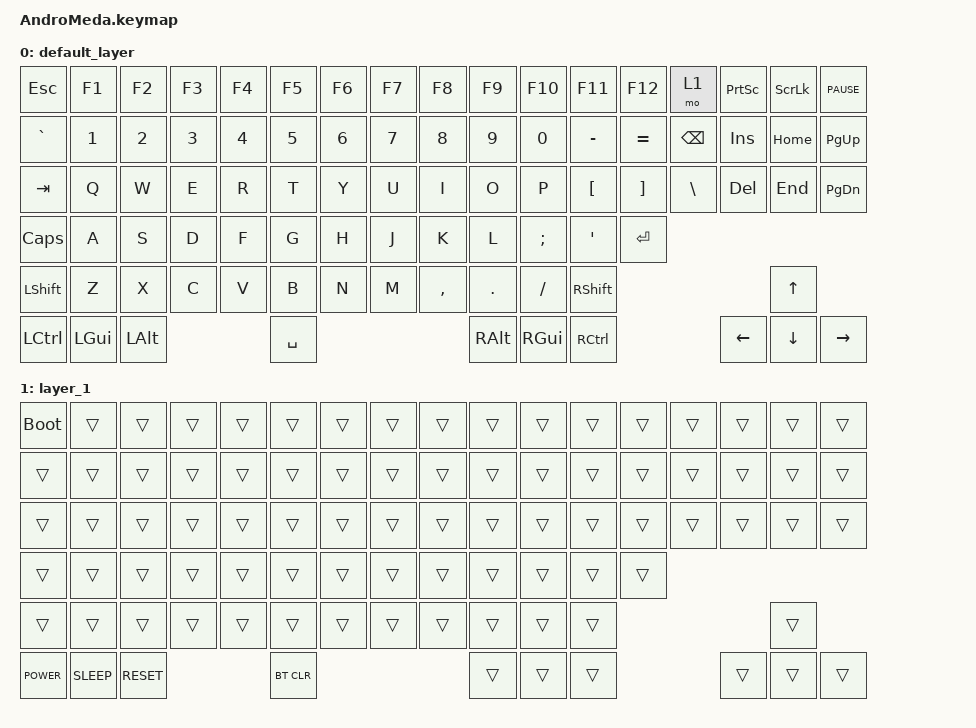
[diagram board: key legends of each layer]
/*
 * Copyright (c) 2022 The ZMK Contributors
 *
 * SPDX-License-Identifier: MIT
 */

#include <behaviors.dtsi>
#include <dt-bindings/zmk/bt.h>
#include <dt-bindings/zmk/keys.h>

/ { 
    keymap {
        compatible = "zmk,keymap";

        default_layer {
            bindings = <
&kp ESC           &kp F1        &kp F2        &kp F3        &kp F4        &kp F5     &kp F6        &kp F7  &kp F8     &kp F9    &kp F10    &kp F11            &kp F12    &mo 1            &kp PRINTSCREEN  &kp SLCK        &kp C_PAUSE

&kp GRAVE         &kp NUMBER_1  &kp NUMBER_2  &kp NUMBER_3  &kp NUMBER_4  &kp N5     &kp NUMBER_6  &kp N7  &kp N8     &kp N9    &kp N0     &kp MINUS          &kp EQUAL  &kp BSPC         &kp INS          &kp HOME        &kp PG_UP
&kp TAB           &kp Q         &kp W         &kp E         &kp R         &kp T      &kp Y         &kp U   &kp I      &kp O     &kp P      &kp LBKT           &kp RBKT   &kp BACKSLASH    &kp DELETE       &kp END         &kp PG_DN
&kp CAPS          &kp A         &kp S         &kp D         &kp F         &kp G      &kp H         &kp J   &kp K      &kp L     &kp SEMI   &kp SQT            &kp ENTER                                                    
&kp LSHFT         &kp Z         &kp X         &kp C         &kp V         &kp B      &kp N         &kp M   &kp COMMA  &kp DOT   &kp SLASH  &kp RSHFT                                                       &kp UP
&kp LEFT_CONTROL  &kp LGUI      &kp LALT                                  &kp SPACE                                   &kp RALT  &kp RGUI   &kp RIGHT_CONTROL                              &kp LEFT         &kp DOWN_ARROW  &kp RIGHT
            >;
        };

        layer_1 {
            bindings = <
&bootloader  &trans       &trans       &trans  &trans  &trans      &trans  &trans  &trans  &trans  &trans  &trans  &trans  &trans    &trans  &trans  &trans

&trans       &trans       &trans       &trans  &trans  &trans      &trans  &trans  &trans  &trans  &trans  &trans  &trans  &trans    &trans  &trans  &trans
&trans       &trans       &trans       &trans  &trans  &trans      &trans  &trans  &trans  &trans  &trans  &trans  &trans  &trans    &trans  &trans  &trans
&trans       &trans       &trans       &trans  &trans  &trans      &trans  &trans  &trans  &trans  &trans  &trans  &trans                                
&trans       &trans       &trans       &trans  &trans  &trans      &trans  &trans  &trans  &trans  &trans  &trans                            &trans
&kp C_POWER  &kp C_SLEEP  &kp C_RESET                  &bt BT_CLR                          &trans  &trans  &trans                    &trans  &trans  &trans
            >;
        };
    };
};
